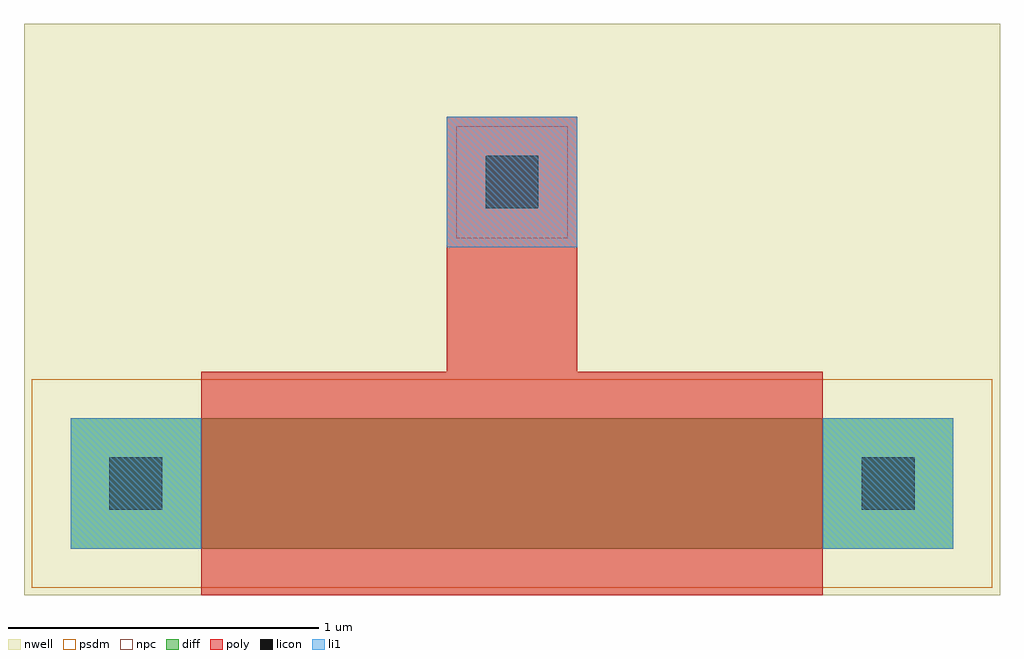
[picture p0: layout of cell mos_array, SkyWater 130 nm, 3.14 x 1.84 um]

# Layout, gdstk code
import gdstk
lib = gdstk.Library(unit=1e-6, precision=1e-09)
def R(c, l, rs):  # rectangles x0, y0, x1, y1
    for r in rs: c.add(gdstk.rectangle(r[:2], r[2:], *l))
nwell = (64, 20)
diff = (65, 20)
poly = (66, 20)
licon = (66, 44)
li1 = (67, 20)
psdm = (94, 20)
npc = (95, 20)

mos_array = lib.new_cell('mos_array')
R(mos_array, nwell, [(-0.15,-0.15,2.99,1.69)])
R(mos_array, diff, [(0,0,2.84,0.42)])
R(mos_array, poly, [(0.42,-0.15,2.42,0.42), (0.42,0.42,2.42,0.57), (0.42,0.42,2.42,0.57), (1.21,0.57,1.63,1.39)])
R(mos_array, licon, [(0.125,0.125,0.295,0.295), (2.545,0.125,2.715,0.295), (1.335,1.095,1.505,1.265)])
R(mos_array, li1, [(0,0,0.42,0.42), (2.42,0,2.84,0.42), (1.21,0.97,1.63,1.39)])
R(mos_array, psdm, [(-0.125,-0.125,2.965,0.545)])
R(mos_array, npc, [(1.24,1,1.6,1.36)])

lib.write_gds('mos_array.gds')
